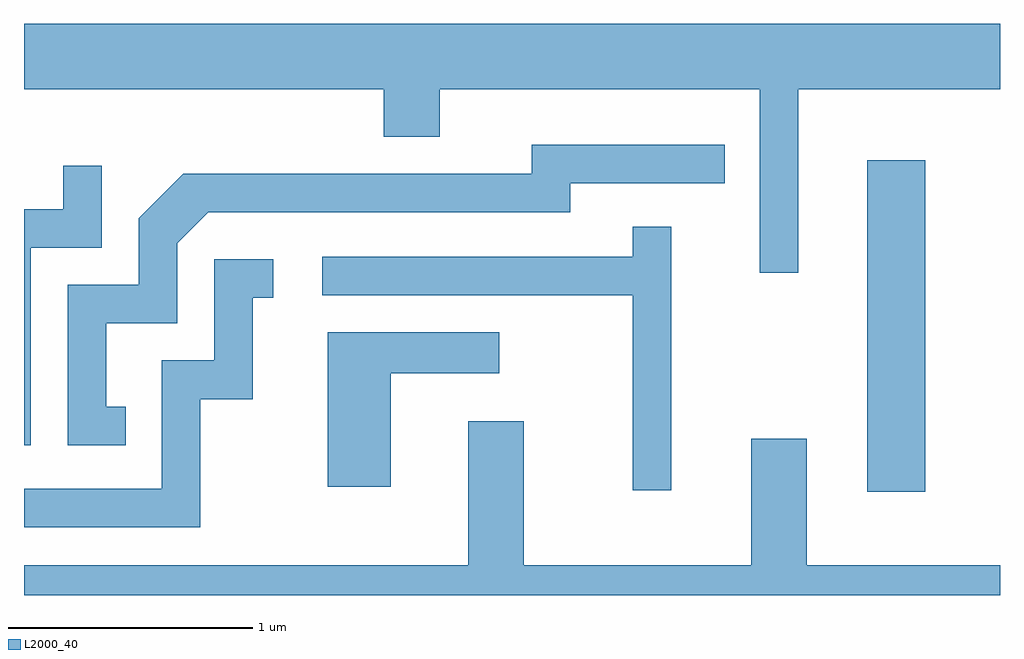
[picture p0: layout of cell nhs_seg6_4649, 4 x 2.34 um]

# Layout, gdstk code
import gdstk
lib = gdstk.Library(unit=1e-6, precision=1e-09)
def R(c, l, rs):  # rectangles x0, y0, x1, y1
    for r in rs: c.add(gdstk.rectangle(r[:2], r[2:], *l))
def P(c, l, *ps):  # polygons
    for p in ps: c.add(gdstk.Polygon(p, *l))
L2000_40 = (2000, 40)

nhs_seg6_4649 = lib.new_cell('nhs_seg6_4649')
R(nhs_seg6_4649, L2000_40, [(331.066,1570.586,331.304,1571.944)])
P(nhs_seg6_4649, L2000_40, [(330.784,1572.236),(331.611,1572.236),(331.611,1572.504),(327.611,1572.504),(327.611,1572.236),(329.086,1572.236),(329.086,1572.041),(329.314,1572.041),(329.314,1572.236),(330.626,1572.236),(330.626,1571.483),(330.784,1571.483)],
  [(328.028,1570.934),(327.949,1570.934),(327.949,1571.276),(328.239,1571.276),(328.239,1571.604),(328.367,1571.731),(329.849,1571.731),(329.849,1571.851),(330.483,1571.851),(330.483,1572.009),(329.691,1572.009),(329.691,1571.889),(328.264,1571.889),(328.081,1571.707),(328.081,1571.434),(327.791,1571.434),(327.791,1570.776),(328.028,1570.776)],
  [(327.639,1571.586),(327.929,1571.586),(327.929,1571.923),(327.771,1571.923),(327.771,1571.744),(327.611,1571.744),(327.611,1570.776),(327.639,1570.776)],
  [(330.264,1571.673),(330.106,1571.673),(330.106,1571.549),(328.833,1571.549),(328.833,1571.391),(330.106,1571.391),(330.106,1570.593),(330.264,1570.593)],
  [(328.334,1570.966),(328.549,1570.966),(328.549,1571.381),(328.633,1571.381),(328.633,1571.539),(328.391,1571.539),(328.391,1571.124),(328.176,1571.124),(328.176,1570.599),(327.611,1570.599),(327.611,1570.441),(328.334,1570.441)],
  [(329.114,1571.071),(329.558,1571.071),(329.558,1571.239),(328.856,1571.239),(328.856,1570.606),(329.114,1570.606)],
  [(331.611,1570.284),(330.819,1570.284),(330.819,1570.804),(330.591,1570.804),(330.591,1570.284),(329.659,1570.284),(329.659,1570.874),(329.431,1570.874),(329.431,1570.284),(327.611,1570.284),(327.611,1570.162),(331.611,1570.162)])

lib.write_gds('nhs_seg6_4649.gds')
